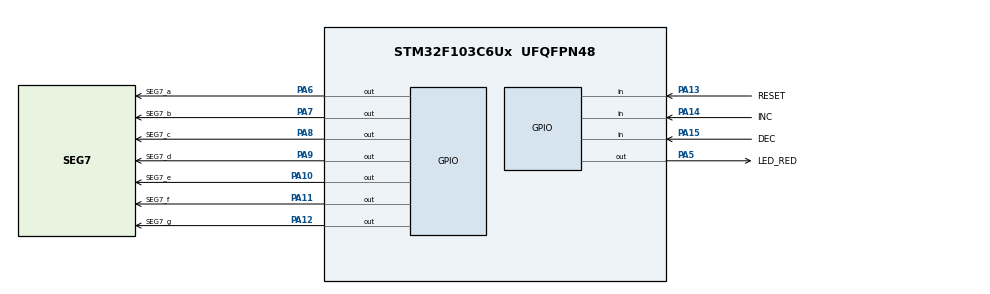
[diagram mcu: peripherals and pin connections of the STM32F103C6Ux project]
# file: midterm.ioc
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Mcu.Family=STM32F1
Mcu.Name=STM32F103C6Ux
Mcu.Package=UFQFPN48
NVIC.PriorityGroup=NVIC_PRIORITYGROUP_4
NVIC.TIM2_IRQn=true\:0\:0\:false\:false\:true\:true\:true
PA10.GPIO_Label=SEG7_e
PA10.Signal=GPIO_Output
PA11.GPIO_Label=SEG7_f
PA11.Signal=GPIO_Output
PA12.GPIO_Label=SEG7_g
PA12.Signal=GPIO_Output
PA13.GPIO_Label=RESET
PA13.GPIO_PuPd=GPIO_PULLUP
PA13.Signal=GPIO_Input
PA14.GPIO_Label=INC
PA14.GPIO_PuPd=GPIO_PULLUP
PA14.Signal=GPIO_Input
PA15.GPIO_Label=DEC
PA15.GPIO_PuPd=GPIO_PULLUP
PA15.Signal=GPIO_Input
PA5.GPIO_Label=LED_RED
PA5.Signal=GPIO_Output
PA6.GPIO_Label=SEG7_a
PA6.Signal=GPIO_Output
PA7.GPIO_Label=SEG7_b
PA7.Signal=GPIO_Output
PA8.GPIO_Label=SEG7_c
PA8.Signal=GPIO_Output
PA9.GPIO_Label=SEG7_d
PA9.Signal=GPIO_Output
ProjectManager.HeapSize=0x200
ProjectManager.StackSize=0x400
ProjectManager.TargetToolchain=STM32CubeIDE
RCC.APB1Freq_Value=8000000
RCC.APB2Freq_Value=8000000
TIM2.Period=9
TIM2.Prescaler=7999
VP_SYS_VS_ND.Mode=No_Debug
VP_TIM2_VS_ClockSourceINT.Mode=Internal
board=custom

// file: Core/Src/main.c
/* USER CODE BEGIN Header */
/**
  ******************************************************************************
  * @file           : main.c
  * @brief          : Main program body
  ******************************************************************************
  * @attention
  *
  * <h2><center>&copy; Copyright (c) 2022 STMicroelectronics.
  * All rights reserved.</center></h2>
  *
  * This software component is licensed by ST under BSD 3-Clause license,
  * the "License"; You may not use this file except in compliance with the
  * License. You may obtain a copy of the License at:
  *                        opensource.org/licenses/BSD-3-Clause
  *
  ******************************************************************************
  */
/* USER CODE END Header */
#include "main.h"

/* USER CODE BEGIN Includes */
#include "global.h"
#include "fsm_run.h"
/* USER CODE END Includes */

TIM_HandleTypeDef htim2;

void SystemClock_Config(void);
static void MX_GPIO_Init(void);
static void MX_TIM2_Init(void);

int main(void)
{

  /* MCU Configuration--------------------------------------------------------*/

  /* Reset of all peripherals, Initializes the Flash interface and the Systick. */
  HAL_Init();

  /* Configure the system clock */
  SystemClock_Config();

  /* Initialize all configured peripherals */
  MX_GPIO_Init();
  MX_TIM2_Init();
  /* USER CODE BEGIN 2 */
  HAL_TIM_Base_Start_IT(&htim2);
  /* USER CODE END 2 */

  /* Infinite loop */
  /* USER CODE BEGIN WHILE */
  //Done
  setTimer1(100);
  setTimer2(1000);
  value = 0;
  mode = INIT;
  while (1)
  {
	if (timer1_flag == 1) {
		setTimer1(100);
		HAL_GPIO_TogglePin(LED_RED_GPIO_Port, LED_RED_Pin);
	}

	fsm_simple_buttons_run();
    /* USER CODE END WHILE */

  }
}

void SystemClock_Config(void)
{
  RCC_OscInitTypeDef RCC_OscInitStruct = {0};
  RCC_ClkInitTypeDef RCC_ClkInitStruct = {0};

  /** Initializes the RCC Oscillators according to the specified parameters
  * in the RCC_OscInitTypeDef structure.
  */
  RCC_OscInitStruct.OscillatorType = RCC_OSCILLATORTYPE_HSI;
  RCC_OscInitStruct.HSIState = RCC_HSI_ON;
  RCC_OscInitStruct.HSICalibrationValue = RCC_HSICALIBRATION_DEFAULT;
  RCC_OscInitStruct.PLL.PLLState = RCC_PLL_NONE;
  if (HAL_RCC_OscConfig(&RCC_OscInitStruct) != HAL_OK)
  {
    Error_Handler();
  }
  /** Initializes the CPU, AHB and APB buses clocks
  */
  RCC_ClkInitStruct.ClockType = RCC_CLOCKTYPE_HCLK|RCC_CLOCKTYPE_SYSCLK
                              |RCC_CLOCKTYPE_PCLK1|RCC_CLOCKTYPE_PCLK2;
  RCC_ClkInitStruct.SYSCLKSource = RCC_SYSCLKSOURCE_HSI;
  RCC_ClkInitStruct.AHBCLKDivider = RCC_SYSCLK_DIV1;
  RCC_ClkInitStruct.APB1CLKDivider = RCC_HCLK_DIV1;
  RCC_ClkInitStruct.APB2CLKDivider = RCC_HCLK_DIV1;

  if (HAL_RCC_ClockConfig(&RCC_ClkInitStruct, FLASH_LATENCY_0) != HAL_OK)
  {
    Error_Handler();
  }
}

static void MX_TIM2_Init(void)
{

  TIM_ClockConfigTypeDef sClockSourceConfig = {0};
  TIM_MasterConfigTypeDef sMasterConfig = {0};

  htim2.Instance = TIM2;
  htim2.Init.Prescaler = 7999;
  htim2.Init.CounterMode = TIM_COUNTERMODE_UP;
  htim2.Init.Period = 9;
  htim2.Init.ClockDivision = TIM_CLOCKDIVISION_DIV1;
  htim2.Init.AutoReloadPreload = TIM_AUTORELOAD_PRELOAD_DISABLE;
  if (HAL_TIM_Base_Init(&htim2) != HAL_OK)
  {
    Error_Handler();
  }
  sClockSourceConfig.ClockSource = TIM_CLOCKSOURCE_INTERNAL;
  if (HAL_TIM_ConfigClockSource(&htim2, &sClockSourceConfig) != HAL_OK)
  {
    Error_Handler();
  }
  sMasterConfig.MasterOutputTrigger = TIM_TRGO_RESET;
  sMasterConfig.MasterSlaveMode = TIM_MASTERSLAVEMODE_DISABLE;
  if (HAL_TIMEx_MasterConfigSynchronization(&htim2, &sMasterConfig) != HAL_OK)
  {
    Error_Handler();
  }

}

static void MX_GPIO_Init(void)
{
  GPIO_InitTypeDef GPIO_InitStruct = {0};

  /* GPIO Ports Clock Enable */
  __HAL_RCC_GPIOA_CLK_ENABLE();

  /*Configure GPIO pin Output Level */
  HAL_GPIO_WritePin(GPIOA, LED_RED_Pin|SEG7_a_Pin|SEG7_b_Pin|SEG7_c_Pin
                          |SEG7_d_Pin|SEG7_e_Pin|SEG7_f_Pin|SEG7_g_Pin, GPIO_PIN_RESET);

  /*Configure GPIO pins : LED_RED_Pin SEG7_a_Pin SEG7_b_Pin SEG7_c_Pin
                           SEG7_d_Pin SEG7_e_Pin SEG7_f_Pin SEG7_g_Pin */
  GPIO_InitStruct.Pin = LED_RED_Pin|SEG7_a_Pin|SEG7_b_Pin|SEG7_c_Pin
                          |SEG7_d_Pin|SEG7_e_Pin|SEG7_f_Pin|SEG7_g_Pin;
  GPIO_InitStruct.Mode = GPIO_MODE_OUTPUT_PP;
  GPIO_InitStruct.Pull = GPIO_NOPULL;
  GPIO_InitStruct.Speed = GPIO_SPEED_FREQ_LOW;
  HAL_GPIO_Init(GPIOA, &GPIO_InitStruct);

  /*Configure GPIO pins : RESET_Pin INC_Pin DEC_Pin */
  GPIO_InitStruct.Pin = RESET_Pin|INC_Pin|DEC_Pin;
  GPIO_InitStruct.Mode = GPIO_MODE_INPUT;
  GPIO_InitStruct.Pull = GPIO_PULLUP;
  HAL_GPIO_Init(GPIOA, &GPIO_InitStruct);

}

/* USER CODE BEGIN 4 */
void HAL_TIM_PeriodElapsedCallback(TIM_HandleTypeDef *htim) {
	timerRun();
	getKeyDec();
	getKeyInc();
	getKeyReset();
}
/* USER CODE END 4 */

void Error_Handler(void)
{
  __disable_irq();
  while (1)
  {
  }
}

/************************ (C) COPYRIGHT STMicroelectronics *****END OF FILE****/
